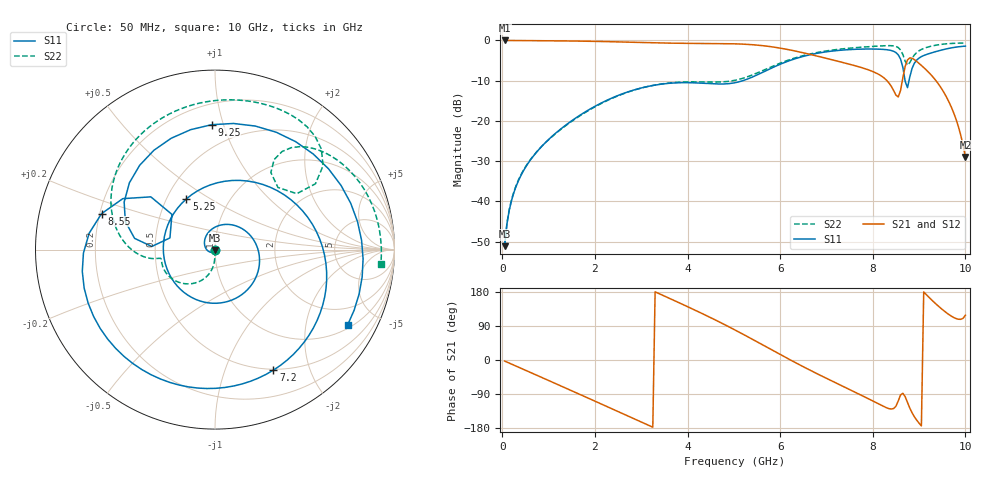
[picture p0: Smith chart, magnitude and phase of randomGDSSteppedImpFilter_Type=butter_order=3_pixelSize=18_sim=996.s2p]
! freq	dB(S11)	phase(S11)	dB(S12)	phase(S12)
!  dB(S21)	phase(S21)	dB(S22)	phase(S22)
!S-par simulation data
#  GHz  S  DB  R 50
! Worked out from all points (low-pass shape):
!   200 points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, 50 MHz to 10 GHz, reference 50 ohm
!   highest |S21| = 0.00 dB at 50 MHz (marker M1); lowest = -28.9 dB at 10 GHz (marker M2)
!   |S21| within 3 dB of the highest: start of sweep to 6.474 GHz
!   lowest |S11| = -51.1 dB at 50 MHz (marker M3), VSWR 1.01, Z = 50 - j0.279 ohm
!   |S11| at or under -10 dB: start of sweep to 5.193 GHz; 8.698 GHz to 8.782 GHz (84.72 MHz wide, 0.969 % of centre)
!   |S22| runs from -50.9 to -0.7 dB; largest |S21 - S12| = 0
!   S11 on the Smith chart (normalised r, x): 50 MHz: 1.00, -0.01; 5.25 GHz: 0.63, +0.40; 7.2 GHz: 0.49, -1.48; 8.55 GHz: 0.21, +0.15; 9.25 GHz: 0.34, +0.92; 10 GHz: 1.13, -3.43
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0.05  -51.10 -87.7  -0.00 -2.8  -0.00 -2.8  -50.94 -81.3
0.2  -39.73 -109.9  -0.02 -10.9  -0.02 -10.9  -39.52 -87.5
0.45  -32.51 -139.3  -0.04 -24.3  -0.04 -24.3  -32.36 -89.5
1.15  -23.05 146.8  -0.10 -62.2  -0.10 -62.2  -23.15 -93.2
1.75  -18.04 89.6  -0.18 -94.9  -0.18 -94.9  -18.18 -100.9
2.65  -13.02 13.0  -0.40 -144.3  -0.40 -144.3  -13.09 -122.2
3.4  -10.91 -46.8  -0.62 174.4  -0.62 174.4  -10.87 -144.2
4.2  -10.56 -115.8  -0.74 129.3  -0.74 129.3  -10.29 -164.4
5.05  -10.44 145.8  -0.85 77.6  -0.85 77.6  -9.83 -171.2
5.25  -9.78 119.5  -0.95 64.7  -0.95 64.7  -9.20 -171.7
5.9  -6.41 43.4  -1.72 21.3  -1.72 21.3  -6.10 176.7
6.7  -3.41 -27.2  -3.61 -30.2  -3.61 -30.2  -3.22 144.2
7.2  -2.54 -64.2  -5.03 -60.3  -5.03 -60.3  -2.28 120.6
7.85  -2.13 -112.9  -7.08 -99.0  -7.08 -99.0  -1.60 88.9
8.35  -2.38 -163.6  -10.57 -128.4  -10.57 -128.4  -1.29 60.8
8.55  -3.57 162.4  -14.04 -108.2  -14.04 -108.2  -1.77 43.4
8.65  -6.69 140.6  -9.25 -87.9  -9.25 -87.9  -3.49 33.2
8.75  -11.72 165.5  -4.84 -111.9  -4.84 -111.9  -6.15 44.6
8.95  -4.86 152.4  -5.22 -159.0  -5.22 -159.0  -2.99 53.2
9.25  -3.14 91.5  -8.44 161.0  -8.44 161.0  -1.46 36.0
9.65  -1.95 18.9  -15.39 119.5  -15.39 119.5  -0.78 13.6
10  -1.41 -29.7  -28.94 118.2  -28.94 118.2  -0.65 -4.9
